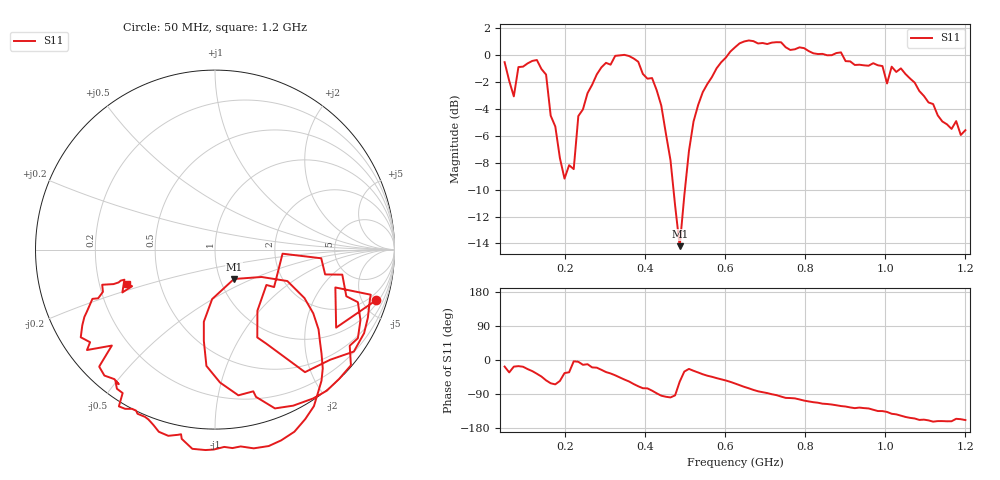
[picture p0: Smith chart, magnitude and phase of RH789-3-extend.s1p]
# HZ S RI R 50
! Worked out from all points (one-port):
!   101 points, 50 MHz to 1.2 GHz, reference 50 ohm
!   lowest |S11| = -14.2 dB at 487 MHz (marker M1), VSWR 1.48, Z = 58.2 - j19.8 ohm
!   |S11| at or under -10 dB: 471.5 MHz to 500 MHz (28.54 MHz wide, 5.88 % of centre)
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5e7  0.8993 -0.2809
6.15e7  0.6749 -0.4347
7.3e7  0.6706 -0.2109
8.45e7  0.8678 -0.2514
1.19e8  0.8306 -0.4656
1.535e8  0.5014 -0.6828
1.65e8  0.285 -0.5235
1.995e8  0.2864 -0.197
2.11e8  0.3293 -0.2086
2.225e8  0.3763 -0.0228
2.34e8  0.5919 -0.0484
2.915e8  0.8105 -0.393
3.375e8  0.6932 -0.7188
3.835e8  0.3341 -0.8848
4.18e8  0.1302 -0.8119
4.525e8  -0.0623 -0.5077
4.87e8  0.1056 -0.1638
5.1e8  0.4031 -0.1752
5.33e8  0.5475 -0.3552
6.25e8  0.5025 -0.9447
6.71e8  0.2157 -1.107
7.745e8  -0.2055 -1.032
9.125e8  -0.5464 -0.7754
9.93e8  -0.6422 -0.6464
1.0045e9  -0.5748 -0.5347
1.062e9  -0.7277 -0.3753
1.1195e9  -0.6284 -0.1958
1.2e9  -0.4895 -0.1931
